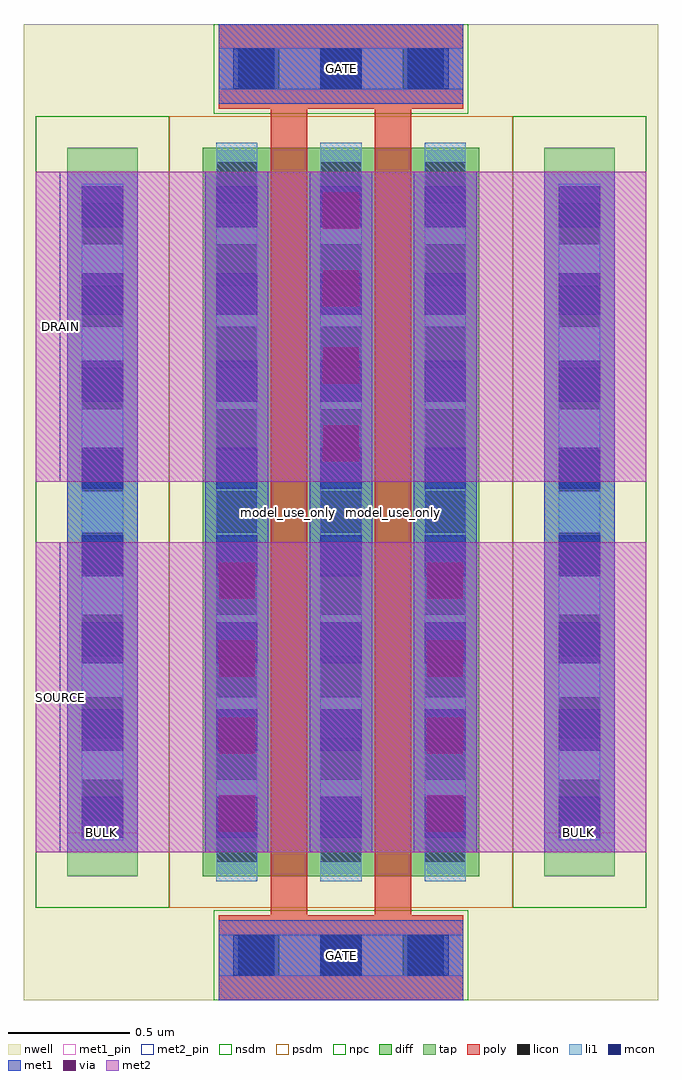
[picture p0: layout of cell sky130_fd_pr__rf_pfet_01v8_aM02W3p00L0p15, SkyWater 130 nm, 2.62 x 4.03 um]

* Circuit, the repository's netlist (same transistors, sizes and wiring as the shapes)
* Copyright 2020 The SkyWater PDK Authors
*
* Licensed under the Apache License, Version 2.0 (the "License");
* you may not use this file except in compliance with the License.
* You may obtain a copy of the License at
*
*     https://www.apache.org/licenses/LICENSE-2.0
*
* Unless required by applicable law or agreed to in writing, software
* distributed under the License is distributed on an "AS IS" BASIS,
* WITHOUT WARRANTIES OR CONDITIONS OF ANY KIND, either express or implied.
* See the License for the specific language governing permissions and
* limitations under the License.
*
* SPDX-License-Identifier: Apache-2.0


.subckt sky130_fd_pr__rf_pfet_01v8_aM02W3p00L0p15 BULK DRAIN GATE SOURCE
X0 SOURCE GATE DRAIN BULK sky130_fd_pr__pfet_01v8 w=3.01e+06u l=150000u
X1 DRAIN GATE SOURCE BULK sky130_fd_pr__pfet_01v8 w=3.01e+06u l=150000u
.ends

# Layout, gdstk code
import gdstk
lib = gdstk.Library(unit=1e-6, precision=1e-09)
def R(c, l, rs):  # rectangles x0, y0, x1, y1
    for r in rs: c.add(gdstk.rectangle(r[:2], r[2:], *l))
def A(c, l, x, y, w, h, nx, ny, dx, dy):  # array of equal rectangles
    R(c, l, [(x+i*dx, y+j*dy, x+i*dx+w, y+j*dy+h) for i in range(nx) for j in range(ny)])
nwell = (64, 20)
diff = (65, 20)
tap = (65, 44)
poly = (66, 20)
licon = (66, 44)
li1 = (67, 20)
mcon = (67, 44)
met1_pin = (68, 16)
met1 = (68, 20)
via = (68, 44)
met2_pin = (69, 16)
met2 = (69, 20)
nsdm = (93, 44)
psdm = (94, 20)
npc = (95, 20)

sky130_fd_pr__rf_pfet_01 = lib.new_cell('sky130_fd_pr__rf_pfet_01v8_aM02W3p00L0p15')
R(sky130_fd_pr__rf_pfet_01, nwell, [(0,0,2.62,4.03)])
R(sky130_fd_pr__rf_pfet_01, diff, [(0.74,0.51,1.88,3.52)])
R(sky130_fd_pr__rf_pfet_01, tap, [(0.18,0.51,0.47,3.52), (2.15,0.51,2.44,3.52)])
R(sky130_fd_pr__rf_pfet_01, poly, [(0.805,0,1.815,0.35), (1.02,0.35,1.17,3.68), (1.45,0.35,1.6,3.68), (0.805,3.68,1.815,4.03)])
A(sky130_fd_pr__rf_pfet_01, licon, 0.885, 0.1, 0.17, 0.17, 3, 2, 0.34, 3.66)
A(sky130_fd_pr__rf_pfet_01, licon, 0.795, 0.57, 0.17, 0.17, 3, 9, 0.43, 0.34)
A(sky130_fd_pr__rf_pfet_01, licon, 0.24, 0.74, 0.17, 0.17, 1, 8, 0, 0.34)
A(sky130_fd_pr__rf_pfet_01, licon, 2.21, 0.74, 0.17, 0.17, 1, 8, 0, 0.34)
A(sky130_fd_pr__rf_pfet_01, li1, 0.795, 0.49, 0.17, 3.05, 3, 1, 0.43, 0)
A(sky130_fd_pr__rf_pfet_01, li1, 0.795, 0.67, 0.17, 2.69, 3, 1, 0.43, 0)
R(sky130_fd_pr__rf_pfet_01, li1, [(0.805,0.1,1.815,0.27), (0.865,0.1,1.755,0.27), (0.24,0.66,0.41,3.37), (2.21,0.66,2.38,3.37), (0.24,0.67,0.41,3.36), (2.21,0.67,2.38,3.36), (0.805,3.76,1.815,3.93), (0.865,3.76,1.755,3.93)])
A(sky130_fd_pr__rf_pfet_01, mcon, 0.865, 0.1, 0.17, 0.17, 3, 2, 0.36, 3.66)
A(sky130_fd_pr__rf_pfet_01, mcon, 0.24, 0.67, 0.17, 0.17, 1, 8, 0, 0.36)
A(sky130_fd_pr__rf_pfet_01, mcon, 0.795, 0.67, 0.17, 0.17, 3, 8, 0.43, 0.36)
A(sky130_fd_pr__rf_pfet_01, mcon, 2.21, 0.67, 0.17, 0.17, 1, 8, 0, 0.36)
R(sky130_fd_pr__rf_pfet_01, met1_pin, [(0.805,0,1.815,0.33), (0.18,0.61,0.47,0.69), (2.15,0.61,2.44,0.69), (0.805,3.7,1.815,4.03)])
A(sky130_fd_pr__rf_pfet_01, met1, 0.75, 0.61, 0.26, 2.81, 3, 1, 0.43, 0)
R(sky130_fd_pr__rf_pfet_01, met1, [(0.805,0,1.815,0.33), (0.18,0.61,0.47,3.42), (0.75,0.61,1.01,1.89), (1.61,0.61,1.87,1.89), (2.15,0.61,2.44,3.42), (1.18,2.14,1.44,3.42), (0.805,3.7,1.815,4.03)])
A(sky130_fd_pr__rf_pfet_01, via, 0.805, 0.695, 0.15, 0.15, 1, 4, 0, 0.32)
A(sky130_fd_pr__rf_pfet_01, via, 1.665, 0.695, 0.15, 0.15, 1, 4, 0, 0.32)
A(sky130_fd_pr__rf_pfet_01, via, 1.235, 2.225, 0.15, 0.15, 1, 4, 0, 0.32)
R(sky130_fd_pr__rf_pfet_01, met2_pin, [(0.05,0.61,0.15,1.89), (0.05,2.14,0.15,3.42)])
R(sky130_fd_pr__rf_pfet_01, met2, [(0.05,0.61,2.57,1.89), (0.75,0.61,1.01,1.89), (1.61,0.61,1.87,1.89), (0.05,2.14,2.57,3.42), (1.18,2.14,1.44,3.42)])
R(sky130_fd_pr__rf_pfet_01, nsdm, [(0.05,0.38,0.6,3.65), (2.02,0.38,2.57,3.65)])
R(sky130_fd_pr__rf_pfet_01, psdm, [(0.6,0.38,2.02,3.65)])
R(sky130_fd_pr__rf_pfet_01, npc, [(0.785,0,1.835,0.37), (0.785,3.66,1.835,4.03)])
sky130_fd_pr__rf_pfet_01.add(gdstk.Label('model_use_only', (1.095,2.015), layer=66, texttype=83))
sky130_fd_pr__rf_pfet_01.add(gdstk.Label('model_use_only', (1.525,2.015), layer=66, texttype=83))
sky130_fd_pr__rf_pfet_01.add(gdstk.Label('SOURCE', (0.15,1.25), layer=69, texttype=5))
sky130_fd_pr__rf_pfet_01.add(gdstk.Label('DRAIN', (0.15,2.78), layer=69, texttype=5))
sky130_fd_pr__rf_pfet_01.add(gdstk.Label('GATE', (1.31,3.845), layer=68, texttype=5))
sky130_fd_pr__rf_pfet_01.add(gdstk.Label('BULK', (2.29,0.69), layer=68, texttype=5))
sky130_fd_pr__rf_pfet_01.add(gdstk.Label('GATE', (1.31,0.185), layer=68, texttype=5))
sky130_fd_pr__rf_pfet_01.add(gdstk.Label('BULK', (0.32,0.69), layer=68, texttype=5))

lib.write_gds('sky130_fd_pr__rf_pfet_01v8_aM02W3p00L0p15.gds')
